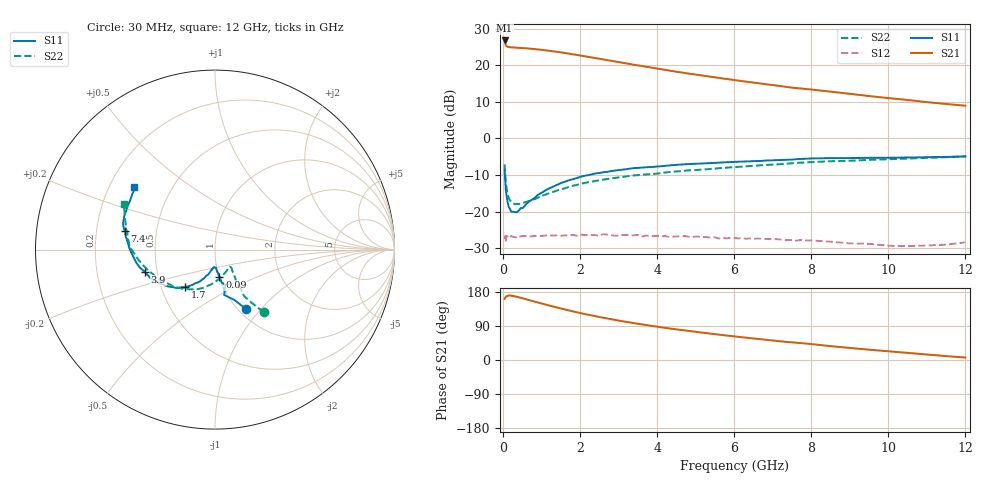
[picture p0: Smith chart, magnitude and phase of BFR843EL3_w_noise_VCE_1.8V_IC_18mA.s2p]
! Infineon Technologies  Discrete & RF Semiconductors
! BFR843EL3
! VCE =  1.8 V,  IC =  18 mA
! Common Emitter S-Parameters:  Aug 2013
# GHz  S  MA  R  50
!  f  S11  S21  S12  S22
! GHz  MAG  ANG  MAG  ANG  MAG  ANG  MAG  ANG
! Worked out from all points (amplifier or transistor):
!   103 points, 30 MHz to 12 GHz, reference 50 ohm
!   highest |S21| = 26.8 dB at 30 MHz (marker M1)
!   |S21| within 3 dB of that: start of sweep to 1.315 GHz
!   unconditionally stable (mu >= 1): 239 MHz to 420.1 MHz; 4.248 GHz to end of sweep
!   at 400 MHz: K = 1.00, MAG = 25.5 dB, |S12| = -26.8 dB
!   at 3.7 GHz: K = 0.95, MSG = 23.1 dB, |S12| = -26.5 dB
!   at 12 GHz: K = 2.25, MAG = 12.3 dB, |S12| = -28.4 dB
!   lowest NFmin = 1.06 dB at 450 MHz
!   S11 on the Smith chart (normalised r, x): 30 MHz: 1.08, -0.84; 90 MHz: 1.00, -0.31; 1.7 GHz: 0.66, -0.30; 3.9 GHz: 0.43, -0.13; 7.4 GHz: 0.33, +0.09; 12 GHz: 0.30, +0.31
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0.03  0.3739 -62.4  21.76 161.2  0.0422 32.0  0.442 -52.1
0.04  0.3001 -69.0  20.27 163.0  0.0431 20.5  0.3564 -55.6
0.06  0.2044 -73.7  18.77 166.3  0.0386 15.2  0.259 -56.6
0.09  0.1536 -80.8  18.06 168.8  0.0465 9.6  0.1945 -54.6
0.15  0.1141 -85.1  17.64 170.2  0.0453 8.2  0.149 -50.3
0.2  0.1005 -87.6  17.51 169.8  0.0466 5.2  0.1366 -48.0
0.6  0.1284 -102.4  16.99 160.0  0.0466 2.3  0.1366 -62.6
1  0.1827 -113.4  16.17 148.9  0.0469 1.7  0.1651 -82.2
1.4  0.2338 -122.6  15.2 138.3  0.0475 1.5  0.1953 -96.6
1.7  0.269 -128.8  14.4 130.8  0.0475 1.6  0.2186 -105.8
2.1  0.3092 -136.7  13.28 121.6  0.048 0.1  0.2467 -116.5
2.6  0.3465 -145.1  11.97 111.4  0.0494 0.6  0.275 -126.8
3  0.3708 -151.1  10.99 104.0  0.0471 0.4  0.2949 -133.7
3.5  0.3974 -157.8  9.924 95.5  0.0483 -0.2  0.316 -141.4
3.9  0.4096 -162.3  9.167 89.3  0.0463 -0.6  0.3281 -146.4
4.1  0.418 -164.2  8.82 86.3  0.0462 0.4  0.3367 -148.1
5.1  0.4539 -174.2  7.307 73.0  0.0456 -1.4  0.3741 -159.1
6.1  0.4813 177.7  6.164 61.2  0.0433 -0.2  0.41 -167.7
7.4  0.5127 168.4  5.019 47.3  0.0411 2.1  0.4554 -178.1
8.5  0.539 159.5  4.355 36.6  0.039 2.7  0.489 172.9
10.5  0.5503 148.1  3.355 18.8  0.0339 16.8  0.5321 160.7
12  0.5703 142.5  2.799 6.5  0.0382 31.1  0.5685 153.5
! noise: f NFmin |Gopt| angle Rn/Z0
0.45  1.06  0.07  132  0.13
0.9  1.06  0.08  131  0.12
1.5  1.08  0.09  133  0.11
1.9  1.08  0.1  136  0.1
2.4  1.09  0.11  142  0.11
3.5  1.11  0.13  151  0.1
5.5  1.14  0.2  171  0.1
8  1.18  0.31  194  0.08
10  1.21  0.44  219  0.07
